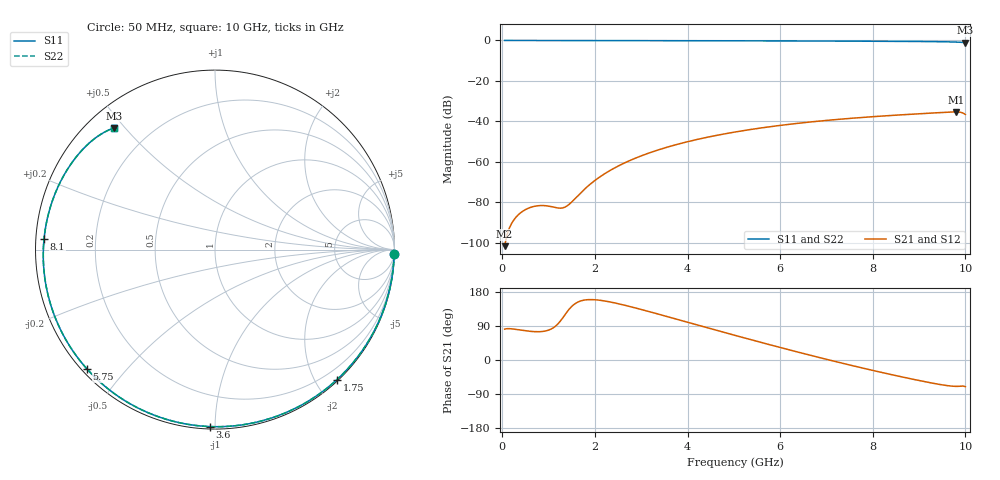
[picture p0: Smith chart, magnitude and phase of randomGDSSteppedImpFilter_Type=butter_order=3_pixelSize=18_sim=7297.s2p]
! freq	dB(S11)	phase(S11)	dB(S12)	phase(S12)
!  dB(S21)	phase(S21)	dB(S22)	phase(S22)
!S-par simulation data
#  GHz  S  DB  R 50
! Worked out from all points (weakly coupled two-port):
!   200 points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, 50 MHz to 10 GHz, reference 50 ohm
!   highest |S21| = -35.33 dB at 9.8 GHz (marker M1); lowest = -101.7 dB at 50 MHz (marker M2)
!   lowest |S11| = -1.1 dB at 10 GHz (marker M3), VSWR 15.80, Z = 3.86 + j23.4 ohm
!   |S11| at or under -10 dB: nowhere
!   |S22| runs from -1.1 to 0.0 dB; largest |S21 - S12| = 0
!   S11 on the Smith chart (normalised r, x): 50 MHz: 6, -85; 1.75 GHz: 0.02, -2.31; 3.6 GHz: 0.01, -0.97; 5.75 GHz: 0.01, -0.39; 8.1 GHz: 0.02, +0.03; 10 GHz: 0.08, +0.47
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0.05  -0.01 -1.3  -101.70 81.5  -101.70 81.5  -0.01 -1.3
0.4  -0.02 -10.9  -85.11 78.8  -85.11 78.8  -0.02 -10.9
0.75  -0.03 -20.4  -81.77 74.6  -81.77 74.6  -0.03 -20.4
1.5  -0.05 -40.4  -79.84 141.4  -79.84 141.4  -0.05 -40.4
1.75  -0.06 -46.9  -74.08 157.7  -74.08 157.7  -0.06 -46.9
2.05  -0.07 -54.5  -68.37 158.5  -68.37 158.5  -0.07 -54.5
2.45  -0.08 -64.5  -62.72 150.0  -62.72 150.0  -0.08 -64.5
2.9  -0.09 -75.3  -57.96 136.6  -57.96 136.6  -0.09 -75.3
3.4  -0.11 -87.0  -53.88 120.0  -53.88 120.0  -0.11 -87.0
3.6  -0.12 -91.6  -52.50 113.3  -52.50 113.3  -0.12 -91.6
4.3  -0.14 -107.0  -48.48 89.4  -48.48 89.4  -0.14 -107.0
5.05  -0.18 -122.8  -45.17 64.2  -45.17 64.2  -0.18 -122.8
5.75  -0.22 -137.0  -42.74 41.1  -42.74 41.1  -0.22 -137.0
6.7  -0.28 -155.8  -40.20 11.0  -40.20 11.0  -0.28 -155.8
7.4  -0.34 -169.6  -38.73 -10.2  -38.73 -10.2  -0.34 -169.5
8.1  -0.41 176.4  -37.54 -30.3  -37.54 -30.3  -0.41 176.4
8.35  -0.43 171.3  -37.16 -37.2  -37.16 -37.2  -0.43 171.3
9.15  -0.55 153.9  -36.06 -57.8  -36.06 -57.8  -0.55 153.9
9.5  -0.65 145.3  -35.61 -65.6  -35.61 -65.6  -0.65 145.4
9.8  -0.81 136.8  -35.33 -69.6  -35.33 -69.6  -0.81 136.8
9.9  -0.92 133.5  -35.53 -69.1  -35.53 -69.1  -0.92 133.5
10  -1.10 129.6  -36.59 -70.4  -36.59 -70.4  -1.10 129.7
